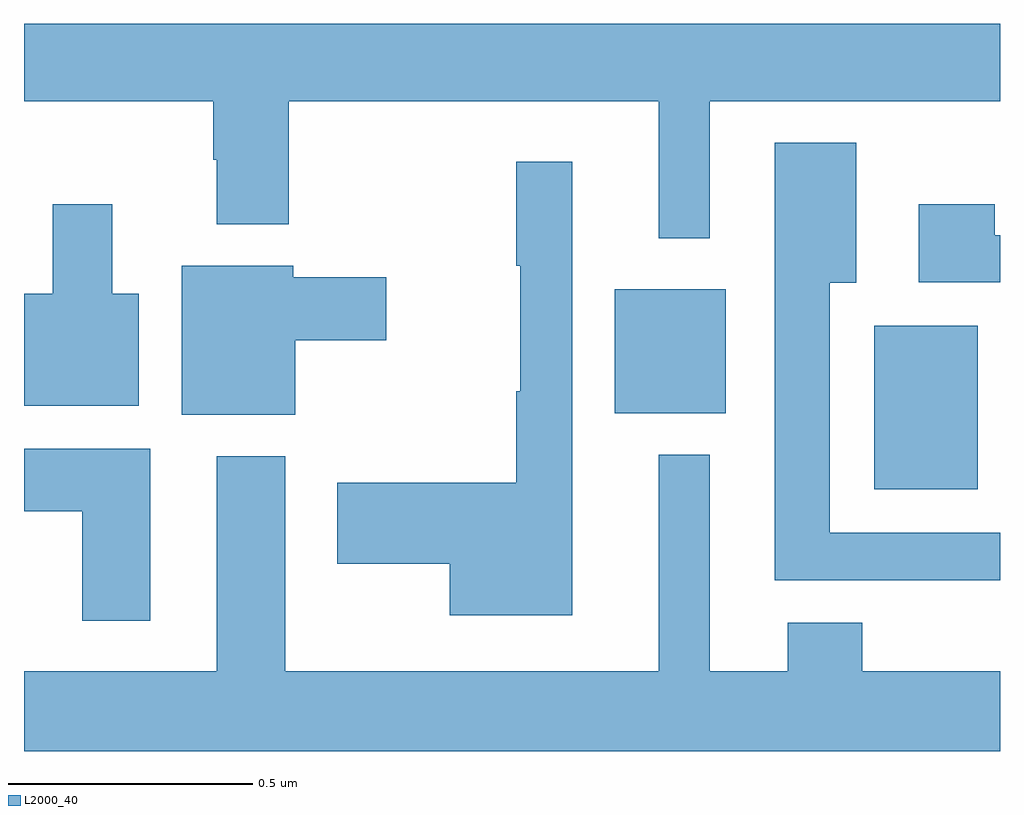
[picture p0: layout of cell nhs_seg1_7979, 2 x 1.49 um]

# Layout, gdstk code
import gdstk
lib = gdstk.Library(unit=1e-6, precision=1e-09)
def R(c, l, rs):  # rectangles x0, y0, x1, y1
    for r in rs: c.add(gdstk.rectangle(r[:2], r[2:], *l))
def P(c, l, *ps):  # polygons
    for p in ps: c.add(gdstk.Polygon(p, *l))
L2000_40 = (2000, 40)

nhs_seg1_7979 = lib.new_cell('nhs_seg1_7979')
R(nhs_seg1_7979, L2000_40, [(211.742,576.245,211.954,576.58), (211.211,576.401,211.438,576.655)])
P(nhs_seg1_7979, L2000_40, [(211.405,577.04),(212,577.04),(212,577.199),(210,577.199),(210,577.04),(210.388,577.04),(210.388,576.92),(210.395,576.92),(210.395,576.788),(210.543,576.788),(210.543,577.04),(211.301,577.04),(211.301,576.759),(211.405,576.759)],
  [(212,576.156),(211.651,576.156),(211.651,576.668),(211.705,576.668),(211.705,576.955),(211.538,576.955),(211.538,576.059),(212,576.059)],
  [(211.123,576.916),(211.009,576.916),(211.009,576.703),(211.017,576.703),(211.017,576.446),(211.009,576.446),(211.009,576.258),(210.642,576.258),(210.642,576.092),(210.872,576.092),(210.872,575.987),(211.123,575.987)],
  [(210.235,576.646),(210.181,576.646),(210.181,576.829),(210.059,576.829),(210.059,576.646),(210,576.646),(210,576.416),(210.235,576.416)],
  [(212,576.765),(211.989,576.765),(211.989,576.829),(211.833,576.829),(211.833,576.669),(212,576.669)],
  [(210.556,576.55),(210.742,576.55),(210.742,576.679),(210.552,576.679),(210.552,576.703),(210.323,576.703),(210.323,576.398),(210.556,576.398)],
  [(210.259,576.328),(210,576.328),(210,576.2),(210.119,576.2),(210.119,575.976),(210.259,575.976)],
  [(212,575.872),(211.718,575.872),(211.718,575.971),(211.565,575.971),(211.565,575.872),(211.405,575.872),(211.405,576.316),(211.301,576.316),(211.301,575.872),(210.535,575.872),(210.535,576.313),(210.395,576.313),(210.395,575.872),(210,575.872),(210,575.708),(212,575.708)])

lib.write_gds('nhs_seg1_7979.gds')
